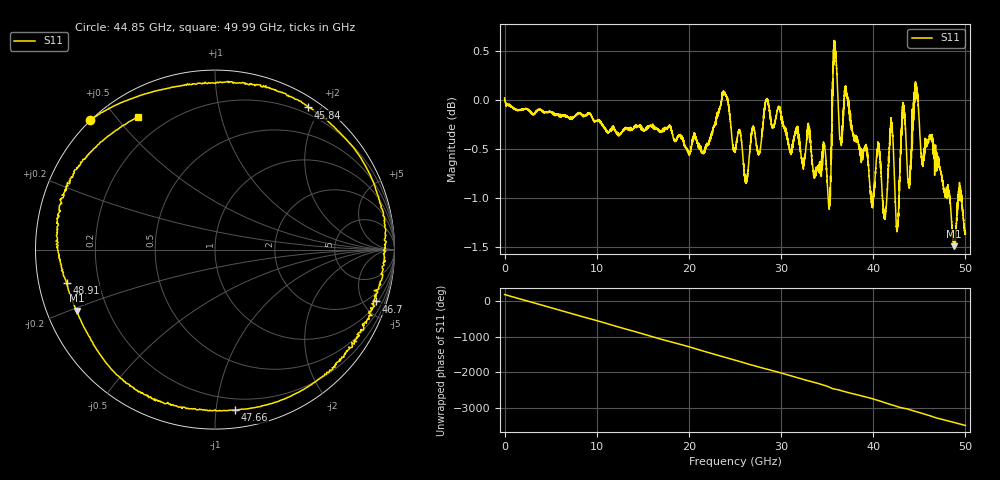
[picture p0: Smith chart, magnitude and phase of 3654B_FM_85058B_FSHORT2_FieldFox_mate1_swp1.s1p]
!Created with skrf (http://scikit-rf.org).
# Hz S RI R 50.0
!freq ReS11 ImS11
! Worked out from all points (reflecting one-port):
!   10000 points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, 5.3 MHz to 50 GHz, reference 50 ohm
!   lowest |S11| = -1.5 dB at 48.76 GHz (marker M1), VSWR 11.71, Z = 4.46 - j10.5 ohm
!   phase of S11 starts at 180 deg and turns -3661 deg over the sweep
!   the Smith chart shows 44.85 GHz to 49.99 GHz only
!   S11 on the Smith chart (normalised r, x): 44.85 GHz: -0.00, +0.42; 45.84 GHz: 0.12, +1.85; 46.7 GHz: 1.21, -6.13; 47.66 GHz: 0.12, -1.13; 48.91 GHz: 0.08, -0.11; 49.99 GHz: 0.10, +0.57
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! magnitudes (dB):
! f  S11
! 5.3 MHz  0.0
! 6.255 GHz  -0.2
! 12.51 GHz  -0.4
! 18.76 GHz  -0.4
! 23.85 GHz  0.1
! 25.01 GHz  -0.5
! 26.23 GHz  -0.8
! 28.45 GHz  0.0
! 31.26 GHz  -0.5
! 35.19 GHz  -1.1
! 35.86 GHz  0.5
! 36.45 GHz  -0.4
! 37.51 GHz  -0.2
! 39.86 GHz  -1.1
! 40.59 GHz  -0.4
! 41.22 GHz  -1.2
! 41.95 GHz  -0.3
! 42.57 GHz  -1.3
! 43.24 GHz  -0.1
! 43.76 GHz  -0.8
! 44.85 GHz  0.0
! 45.84 GHz  -0.5
! 46.7 GHz  -0.5
! 47.66 GHz  -0.9
! 48.76 GHz  -1.5
! 48.91 GHz  -1.5
! 49.99 GHz  -1.4
! 50 GHz  -1.4
